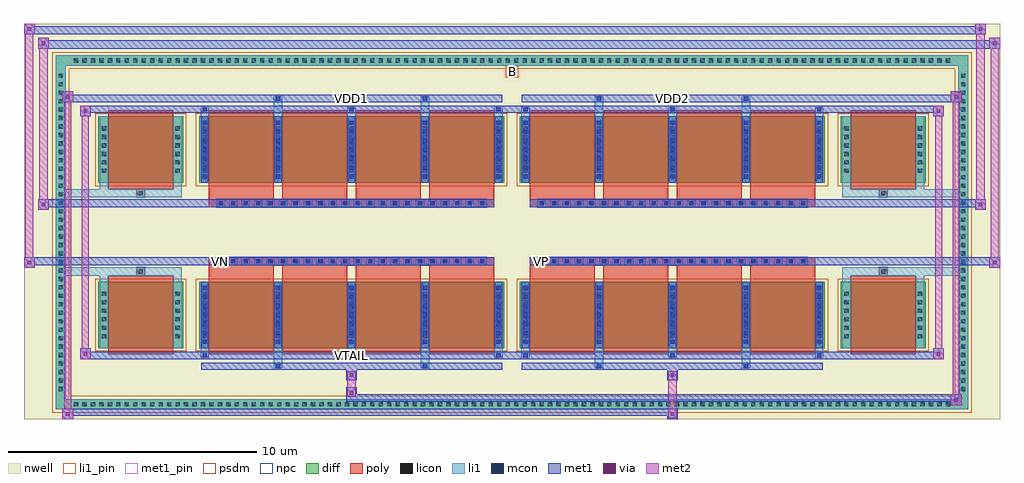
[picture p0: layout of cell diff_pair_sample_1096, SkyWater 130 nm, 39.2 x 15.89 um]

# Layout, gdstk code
import gdstk
lib = gdstk.Library(unit=1e-6, precision=5e-09)
def R(c, l, rs):  # rectangles x0, y0, x1, y1
    for r in rs: c.add(gdstk.rectangle(r[:2], r[2:], *l))
def A(c, l, x, y, w, h, nx, ny, dx, dy):  # array of equal rectangles
    R(c, l, [(x+i*dx, y+j*dy, x+i*dx+w, y+j*dy+h) for i in range(nx) for j in range(ny)])
def P(c, l, *ps):  # polygons
    for p in ps: c.add(gdstk.Polygon(p, *l))
nwell = (64, 20)
diff = (65, 20)
poly = (66, 20)
licon = (66, 44)
li1_pin = (67, 16)
li1 = (67, 20)
mcon = (67, 44)
met1_pin = (68, 16)
met1 = (68, 20)
via = (68, 44)
met2 = (69, 20)
psdm = (94, 20)
npc = (95, 20)

diff_pair_sample_1096 = lib.new_cell('diff_pair_sample_1096')
R(diff_pair_sample_1096, nwell, [(-19.6,-7.51,19.6,8.38), (-16.92,-5.7,-0.01,-0.8), (0.01,-5.7,16.92,-0.8), (-16.92,0.8,-0.01,5.7), (0.01,0.8,16.92,5.7)])
A(diff_pair_sample_1096, diff, -17.715, -7.11, 0.41, 0.41, 104, 2, 0.34, 13.81)
A(diff_pair_sample_1096, diff, -18.33, -6.495, 0.41, 0.41, 1, 38, 0, 0.34)
A(diff_pair_sample_1096, diff, 17.92, -6.495, 0.41, 0.41, 1, 38, 0, 0.34)
R(diff_pair_sample_1096, diff, [(-17.715,-7.11,17.715,-6.7), (-18.33,-6.495,-17.92,6.495), (17.92,-6.495,18.33,6.495), (-16.61,-4.655,-13.21,-1.985), (-12.57,-4.655,-0.32,-1.985), (0.32,-4.655,12.57,-1.985), (13.21,-4.655,16.61,-1.985), (-16.61,1.985,-13.21,4.655), (-12.57,1.985,-0.32,4.655), (0.32,1.985,12.57,4.655), (13.21,1.985,16.61,4.655), (-17.715,6.7,17.715,7.11)])
P(diff_pair_sample_1096, diff, [(18.33,7.11),(-18.33,7.11),(-18.33,-6.7),(-17.92,-6.7),(-17.92,6.7),(17.92,6.7),(17.92,-6.7),(-17.92,-6.7),(-18.33,-6.7),(-18.33,-7.11),(18.33,-7.11)])
A(diff_pair_sample_1096, poly, -12.18, -4.905, 2.62, 3.17, 4, 2, 2.95, 6.64)
A(diff_pair_sample_1096, poly, 0.71, -4.905, 2.62, 3.17, 4, 2, 2.95, 6.64)
A(diff_pair_sample_1096, poly, -12.18, -1.735, 2.62, 0.405, 4, 2, 2.95, 3.065)
A(diff_pair_sample_1096, poly, 0.71, -1.735, 2.62, 0.405, 4, 2, 2.95, 3.065)
A(diff_pair_sample_1096, poly, -11.86, -1.33, 0.33, 0.33, 22, 2, 0.5, 2.33)
A(diff_pair_sample_1096, poly, 1.03, -1.33, 0.33, 0.33, 22, 2, 0.5, 2.33)
R(diff_pair_sample_1096, poly, [(-16.22,-4.905,-13.6,-1.735), (13.6,-4.905,16.22,-1.735), (-15.075,-1.735,-14.745,-1.405), (-15.075,-1.735,-14.745,-1.405), (14.745,-1.735,15.075,-1.405), (14.745,-1.735,15.075,-1.405), (-12.18,-1.33,-0.71,-1), (0.71,-1.33,12.18,-1), (-12.18,1,-0.71,1.33), (0.71,1,12.18,1.33), (-15.075,1.405,-14.745,1.735), (-15.075,1.405,-14.745,1.735), (14.745,1.405,15.075,1.735), (14.745,1.405,15.075,1.735), (-16.22,1.735,-13.6,4.905), (13.6,1.735,16.22,4.905)])
A(diff_pair_sample_1096, licon, -17.595, -6.99, 0.17, 0.17, 104, 2, 0.34, 13.81)
A(diff_pair_sample_1096, licon, -18.21, -6.375, 0.17, 0.17, 1, 38, 0, 0.34)
A(diff_pair_sample_1096, licon, 18.04, -6.375, 0.17, 0.17, 1, 38, 0, 0.34)
A(diff_pair_sample_1096, licon, -16.47, -4.255, 0.17, 0.17, 1, 6, 0, 0.34)
A(diff_pair_sample_1096, licon, -13.52, -4.255, 0.17, 0.17, 1, 6, 0, 0.34)
A(diff_pair_sample_1096, licon, -12.43, -4.255, 0.17, 0.17, 5, 6, 2.95, 0.34)
A(diff_pair_sample_1096, licon, 0.46, -4.255, 0.17, 0.17, 5, 6, 2.95, 0.34)
A(diff_pair_sample_1096, licon, 13.35, -4.255, 0.17, 0.17, 1, 6, 0, 0.34)
A(diff_pair_sample_1096, licon, 16.3, -4.255, 0.17, 0.17, 1, 6, 0, 0.34)
A(diff_pair_sample_1096, licon, -11.78, -1.25, 0.17, 0.17, 22, 2, 0.5, 2.33)
A(diff_pair_sample_1096, licon, 1.11, -1.25, 0.17, 0.17, 22, 2, 0.5, 2.33)
A(diff_pair_sample_1096, licon, -16.47, 2.385, 0.17, 0.17, 1, 6, 0, 0.34)
A(diff_pair_sample_1096, licon, -13.52, 2.385, 0.17, 0.17, 1, 6, 0, 0.34)
A(diff_pair_sample_1096, licon, -12.43, 2.385, 0.17, 0.17, 5, 6, 2.95, 0.34)
A(diff_pair_sample_1096, licon, 0.46, 2.385, 0.17, 0.17, 5, 6, 2.95, 0.34)
A(diff_pair_sample_1096, licon, 13.35, 2.385, 0.17, 0.17, 1, 6, 0, 0.34)
A(diff_pair_sample_1096, licon, 16.3, 2.385, 0.17, 0.17, 1, 6, 0, 0.34)
R(diff_pair_sample_1096, licon, [(-14.995,-1.655,-14.825,-1.485), (14.825,-1.655,14.995,-1.485), (-14.995,1.485,-14.825,1.655), (14.825,1.485,14.995,1.655)])
R(diff_pair_sample_1096, li1_pin, [(-0.25,6.2,0.25,6.7)])
A(diff_pair_sample_1096, li1, -17.675, -7.07, 0.33, 0.33, 104, 2, 0.34, 13.81)
A(diff_pair_sample_1096, li1, -18.29, -6.455, 0.33, 0.33, 1, 38, 0, 0.34)
A(diff_pair_sample_1096, li1, 17.96, -6.455, 0.33, 0.33, 1, 38, 0, 0.34)
A(diff_pair_sample_1096, li1, -12.51, -5.03, 0.33, 0.375, 3, 2, 5.9, 9.685)
A(diff_pair_sample_1096, li1, -12.43, -5.03, 0.17, 0.17, 3, 2, 5.9, 9.89)
A(diff_pair_sample_1096, li1, 0.38, -5.03, 0.33, 0.375, 3, 2, 5.9, 9.685)
A(diff_pair_sample_1096, li1, 0.46, -5.03, 0.17, 0.17, 3, 2, 5.9, 9.89)
A(diff_pair_sample_1096, li1, -12.51, -4.655, 0.33, 2.67, 5, 2, 2.95, 6.64)
A(diff_pair_sample_1096, li1, 0.38, -4.655, 0.33, 2.67, 5, 2, 2.95, 6.64)
A(diff_pair_sample_1096, li1, -12.43, -4.485, 0.17, 0.17, 5, 7, 2.95, 0.36)
A(diff_pair_sample_1096, li1, -12.43, -4.485, 0.17, 2.33, 5, 2, 2.95, 6.64)
A(diff_pair_sample_1096, li1, 0.46, -4.485, 0.17, 0.17, 5, 7, 2.95, 0.36)
A(diff_pair_sample_1096, li1, 0.46, -4.485, 0.17, 2.33, 5, 2, 2.95, 6.64)
A(diff_pair_sample_1096, li1, -16.55, -4.335, 0.33, 0.33, 1, 6, 0, 0.34)
A(diff_pair_sample_1096, li1, -13.6, -4.335, 0.33, 0.33, 1, 6, 0, 0.34)
A(diff_pair_sample_1096, li1, -12.51, -4.335, 0.33, 0.33, 5, 6, 2.95, 0.34)
A(diff_pair_sample_1096, li1, 0.38, -4.335, 0.33, 0.33, 5, 6, 2.95, 0.34)
A(diff_pair_sample_1096, li1, 13.27, -4.335, 0.33, 0.33, 1, 6, 0, 0.34)
A(diff_pair_sample_1096, li1, 16.22, -4.335, 0.33, 0.33, 1, 6, 0, 0.34)
A(diff_pair_sample_1096, li1, -11.86, -1.33, 0.33, 0.33, 22, 2, 0.5, 2.33)
A(diff_pair_sample_1096, li1, 1.03, -1.33, 0.33, 0.33, 22, 2, 0.5, 2.33)
A(diff_pair_sample_1096, li1, -12.43, 2.155, 0.17, 0.17, 5, 7, 2.95, 0.36)
A(diff_pair_sample_1096, li1, 0.46, 2.155, 0.17, 0.17, 5, 7, 2.95, 0.36)
A(diff_pair_sample_1096, li1, -16.55, 2.305, 0.33, 0.33, 1, 6, 0, 0.34)
A(diff_pair_sample_1096, li1, -13.6, 2.305, 0.33, 0.33, 1, 6, 0, 0.34)
A(diff_pair_sample_1096, li1, -12.51, 2.305, 0.33, 0.33, 5, 6, 2.95, 0.34)
A(diff_pair_sample_1096, li1, 0.38, 2.305, 0.33, 0.33, 5, 6, 2.95, 0.34)
A(diff_pair_sample_1096, li1, 13.27, 2.305, 0.33, 0.33, 1, 6, 0, 0.34)
A(diff_pair_sample_1096, li1, 16.22, 2.305, 0.33, 0.33, 1, 6, 0, 0.34)
R(diff_pair_sample_1096, li1, [(-18.33,-7.11,-17.92,-6.7), (-18.33,-7.11,-17.92,-6.7), (-17.92,-7.11,17.92,-6.7), (17.92,-7.11,18.33,-6.7), (17.92,-7.11,18.33,-6.7), (-18.33,-6.7,-17.92,6.7), (17.92,-6.7,18.33,6.7), (-9.56,-5.46,-9.23,-4.655), (-9.48,-5.46,-9.31,-5.29), (-3.66,-5.46,-3.33,-4.655), (-3.58,-5.46,-3.41,-5.29), (3.33,-5.46,3.66,-4.655), (3.41,-5.46,3.58,-5.29), (9.23,-5.46,9.56,-4.655), (9.31,-5.46,9.48,-5.29), (-16.55,-4.655,-16.22,-1.985), (-13.6,-4.655,-13.27,-1.985), (13.27,-4.655,13.6,-1.985), (16.22,-4.655,16.55,-1.985), (-16.55,-1.985,-16.22,-1.405), (-13.6,-1.985,-13.27,-1.405), (13.27,-1.985,13.6,-1.405), (16.22,-1.985,16.55,-1.405), (-18.33,-1.735,-15.075,-1.405), (-16.55,-1.735,-15.075,-1.405), (-15.075,-1.735,-14.745,-1.405), (-14.745,-1.735,-13.27,-1.405), (13.27,-1.735,14.745,-1.405), (14.745,-1.735,15.075,-1.405), (14.745,-1.735,18.33,-1.405), (15.075,-1.735,16.55,-1.405), (-18.33,1.405,-15.075,1.735), (-16.55,1.405,-15.075,1.735), (-16.55,1.405,-16.22,1.985), (-15.075,1.405,-14.745,1.735), (-14.745,1.405,-13.27,1.735), (-13.6,1.405,-13.27,1.985), (13.27,1.405,14.745,1.735), (13.27,1.405,13.6,1.985), (14.745,1.405,15.075,1.735), (14.745,1.405,18.33,1.735), (15.075,1.405,16.55,1.735), (16.22,1.405,16.55,1.985), (-16.55,1.985,-16.22,4.655), (-13.6,1.985,-13.27,4.655), (13.27,1.985,13.6,4.655), (16.22,1.985,16.55,4.655), (-9.56,4.655,-9.23,5.46), (-3.66,4.655,-3.33,5.46), (3.33,4.655,3.66,5.46), (9.23,4.655,9.56,5.46), (-9.48,5.29,-9.31,5.46), (-3.58,5.29,-3.41,5.46), (3.41,5.29,3.58,5.46), (9.31,5.29,9.48,5.46), (-18.33,6.7,-17.92,7.11), (-18.33,6.7,-17.92,7.11), (-17.92,6.7,17.92,7.11), (17.92,6.7,18.33,7.11), (17.92,6.7,18.33,7.11)])
A(diff_pair_sample_1096, mcon, -12.43, -5.03, 0.17, 0.17, 3, 2, 5.9, 9.89)
A(diff_pair_sample_1096, mcon, 0.46, -5.03, 0.17, 0.17, 3, 2, 5.9, 9.89)
A(diff_pair_sample_1096, mcon, -12.43, -4.485, 0.17, 0.17, 5, 7, 2.95, 0.36)
A(diff_pair_sample_1096, mcon, 0.46, -4.485, 0.17, 0.17, 5, 7, 2.95, 0.36)
A(diff_pair_sample_1096, mcon, -11.78, -1.25, 0.17, 0.17, 22, 2, 0.5, 2.33)
A(diff_pair_sample_1096, mcon, 1.11, -1.25, 0.17, 0.17, 22, 2, 0.5, 2.33)
A(diff_pair_sample_1096, mcon, -12.43, 2.155, 0.17, 0.17, 5, 7, 2.95, 0.36)
A(diff_pair_sample_1096, mcon, 0.46, 2.155, 0.17, 0.17, 5, 7, 2.95, 0.36)
R(diff_pair_sample_1096, mcon, [(-9.48,-5.46,-9.31,-5.29), (-3.58,-5.46,-3.41,-5.29), (3.41,-5.46,3.58,-5.29), (9.31,-5.46,9.48,-5.29), (-9.48,5.29,-9.31,5.46), (-3.58,5.29,-3.41,5.46), (3.41,5.29,3.58,5.46), (9.31,5.29,9.48,5.46)])
R(diff_pair_sample_1096, met1_pin, [(-6.58,-5.07,-6.31,-4.8), (-11.83,-1.29,-11.56,-1.02), (1.06,-1.29,1.33,-1.02), (-6.58,5.25,-6.31,5.52), (6.31,5.25,6.58,5.52)])
A(diff_pair_sample_1096, met1, -12.49, -5.09, 0.29, 0.29, 3, 2, 5.9, 9.89)
A(diff_pair_sample_1096, met1, 0.4, -5.09, 0.29, 0.29, 3, 2, 5.9, 9.89)
A(diff_pair_sample_1096, met1, -12.49, -4.655, 0.29, 2.67, 5, 2, 2.95, 6.64)
A(diff_pair_sample_1096, met1, 0.4, -4.655, 0.29, 2.67, 5, 2, 2.95, 6.64)
A(diff_pair_sample_1096, met1, -12.49, -4.545, 0.29, 0.29, 5, 7, 2.95, 0.36)
A(diff_pair_sample_1096, met1, 0.4, -4.545, 0.29, 0.29, 5, 7, 2.95, 0.36)
A(diff_pair_sample_1096, met1, -11.84, -1.31, 0.29, 0.29, 22, 2, 0.5, 2.33)
A(diff_pair_sample_1096, met1, 1.05, -1.31, 0.29, 0.29, 22, 2, 0.5, 2.33)
A(diff_pair_sample_1096, met1, -12.49, 2.095, 0.29, 0.29, 5, 7, 2.95, 0.36)
A(diff_pair_sample_1096, met1, 0.4, 2.095, 0.29, 0.29, 5, 7, 2.95, 0.36)
R(diff_pair_sample_1096, met1, [(-18.06,-7.51,-17.63,-7.08), (6.23,-7.51,6.66,-7.08), (-18.06,-7.37,6.66,-7.08), (17.63,-6.94,18.06,-6.51), (-6.66,-6.8,18.06,-6.51), (-6.66,-6.66,-6.23,-6.23), (-6.66,-5.95,-6.23,-5.52), (6.23,-5.95,6.66,-5.52), (-12.49,-5.52,-0.4,-5.23), (-9.54,-5.52,-9.25,-5.23), (-3.64,-5.52,-3.35,-5.23), (0.4,-5.52,12.49,-5.23), (3.35,-5.52,3.64,-5.23), (9.25,-5.52,9.54,-5.23), (-17.35,-5.09,-16.92,-4.66), (-17.35,-5.09,-12.49,-4.8), (-12.49,-5.09,-0.4,-4.8), (-0.4,-5.09,0.4,-4.8), (0.4,-5.09,12.49,-4.8), (12.49,-5.09,17.35,-4.8), (16.92,-5.09,17.35,-4.66), (-19.6,-1.43,-19.17,-1), (19.17,-1.43,19.6,-1), (-19.6,-1.33,-0.71,-1), (-12.18,-1.33,-0.71,-1), (0.71,-1.33,12.18,-1), (0.71,-1.33,19.6,-1), (-19.03,0.9,-18.6,1.33), (18.6,0.9,19.03,1.33), (-19.03,1,-12.18,1.33), (-12.18,1,-0.71,1.33), (0.71,1,12.18,1.33), (12.18,1,19.03,1.33), (-17.35,4.66,-16.92,5.09), (16.92,4.66,17.35,5.09), (-17.35,4.8,-12.49,5.09), (-12.49,4.8,-0.4,5.09), (-0.4,4.8,0.4,5.09), (0.4,4.8,12.49,5.09), (12.49,4.8,17.35,5.09), (-18.06,5.23,-17.63,5.66), (-18.06,5.23,-12.49,5.52), (-12.49,5.23,-0.4,5.52), (-9.54,5.23,-9.25,5.52), (-3.64,5.23,-3.35,5.52), (0.4,5.23,12.49,5.52), (3.35,5.23,3.64,5.52), (9.25,5.23,9.54,5.52), (12.49,5.23,18.06,5.52), (17.63,5.23,18.06,5.66), (-19.03,7.38,-18.6,7.81), (-19.03,7.38,-16.92,7.71), (-16.92,7.38,16.92,7.71), (16.92,7.38,19.6,7.71), (19.17,7.38,19.6,7.81), (-19.6,7.95,-19.17,8.38), (-19.6,7.95,-16.92,8.28), (-16.92,7.95,16.92,8.28), (16.92,7.95,19.03,8.28), (18.6,7.95,19.03,8.38)])
R(diff_pair_sample_1096, via, [(-17.92,-7.37,-17.77,-7.22), (6.37,-7.37,6.52,-7.22), (17.77,-6.8,17.92,-6.65), (-6.52,-6.52,-6.37,-6.37), (-6.52,-5.81,-6.37,-5.66), (6.37,-5.81,6.52,-5.66), (-17.21,-4.95,-17.06,-4.8), (17.06,-4.95,17.21,-4.8), (-19.46,-1.29,-19.31,-1.14), (19.31,-1.29,19.46,-1.14), (-18.89,1.04,-18.74,1.19), (18.74,1.04,18.89,1.19), (-17.21,4.8,-17.06,4.95), (17.06,4.8,17.21,4.95), (-17.92,5.37,-17.77,5.52), (17.77,5.37,17.92,5.52), (-18.89,7.52,-18.74,7.67), (19.31,7.52,19.46,7.67), (-19.46,8.09,-19.31,8.24), (18.74,8.09,18.89,8.24)])
R(diff_pair_sample_1096, met2, [(-18.06,-7.51,-17.63,-7.08), (-17.99,-7.51,-17.7,5.66), (-17.7,-7.51,-17.63,-7.08), (-18.01,-7.46,-17.68,-7.13), (6.28,-7.46,6.61,-7.13), (6.28,-7.13,6.61,-5.9), (17.63,-6.94,18.06,-6.51), (17.7,-6.94,17.99,5.66), (17.99,-6.94,18.06,-6.51), (17.68,-6.89,18.01,-6.56), (-6.61,-6.61,-6.28,-6.28), (-6.61,-6.28,-6.28,-5.9), (-6.61,-5.9,-6.28,-5.57), (6.28,-5.9,6.61,-5.57), (-17.35,-5.09,-16.92,-4.66), (-17.28,-5.09,-16.99,5.09), (-16.99,-5.09,-16.92,-4.66), (16.92,-5.09,17.35,-4.66), (16.99,-5.09,17.28,5.09), (17.28,-5.09,17.35,-4.66), (-17.3,-5.04,-16.97,-4.71), (16.97,-5.04,17.3,-4.71), (-19.6,-1.43,-19.17,-1), (-19.55,-1.43,-19.22,8.38), (-19.22,-1.43,-19.17,-1), (19.17,-1.43,19.6,-1), (19.22,-1.43,19.55,7.81), (19.55,-1.43,19.6,-1), (-19.55,-1.38,-19.22,-1.05), (19.22,-1.38,19.55,-1.05), (-19.03,0.9,-18.6,1.33), (-18.98,0.9,-18.65,7.81), (-18.65,0.9,-18.6,1.33), (18.6,0.9,19.03,1.33), (18.65,0.9,18.98,8.38), (18.98,0.9,19.03,1.33), (-18.98,0.95,-18.65,1.28), (18.65,0.95,18.98,1.28), (-17.35,4.66,-16.92,5.09), (-16.99,4.66,-16.92,5.09), (16.92,4.66,17.35,5.09), (17.28,4.66,17.35,5.09), (-17.3,4.71,-16.97,5.04), (16.97,4.71,17.3,5.04), (-18.06,5.23,-17.63,5.66), (-17.7,5.23,-17.63,5.66), (17.63,5.23,18.06,5.66), (17.99,5.23,18.06,5.66), (-18.01,5.28,-17.68,5.61), (17.68,5.28,18.01,5.61), (-19.03,7.38,-18.6,7.81), (-18.65,7.38,-18.6,7.81), (19.17,7.38,19.6,7.81), (19.55,7.38,19.6,7.81), (-18.98,7.43,-18.65,7.76), (19.22,7.43,19.55,7.76), (-19.6,7.95,-19.17,8.38), (-19.22,7.95,-19.17,8.38), (18.6,7.95,19.03,8.38), (18.98,7.95,19.03,8.38), (-19.55,8,-19.22,8.33), (18.65,8,18.98,8.33)])
R(diff_pair_sample_1096, psdm, [(-16.74,-4.785,-13.08,-1.855), (-12.7,-4.785,-0.19,-1.855), (0.19,-4.785,12.7,-1.855), (13.08,-4.785,16.74,-1.855), (-16.74,1.855,-13.08,4.785), (-12.7,1.855,-0.19,4.785), (0.19,1.855,12.7,4.785), (13.08,1.855,16.74,4.785)])
P(diff_pair_sample_1096, psdm, [(18.46,7.24),(-18.46,7.24),(-18.46,-6.57),(-17.79,-6.57),(-17.79,6.57),(17.79,6.57),(17.79,-6.57),(-17.79,-6.57),(-18.46,-6.57),(-18.46,-7.24),(18.46,-7.24)])
A(diff_pair_sample_1096, npc, -11.88, -1.35, 0.37, 0.37, 22, 2, 0.5, 2.33)
A(diff_pair_sample_1096, npc, 1.01, -1.35, 0.37, 0.37, 22, 2, 0.5, 2.33)
R(diff_pair_sample_1096, npc, [(-15.095,-1.755,-14.725,-1.385), (14.725,-1.755,15.095,-1.385), (-11.88,-1.35,-11.01,-0.98), (-11.88,-1.35,-11.01,-0.98), (-11.38,-1.35,-10.51,-0.98), (-11.38,-1.35,-10.51,-0.98), (-10.88,-1.35,-10.01,-0.98), (-10.88,-1.35,-10.01,-0.98), (-10.38,-1.35,-9.51,-0.98), (-10.38,-1.35,-9.51,-0.98), (-9.88,-1.35,-9.01,-0.98), (-9.88,-1.35,-9.01,-0.98), (-9.38,-1.35,-8.51,-0.98), (-9.38,-1.35,-8.51,-0.98), (-8.88,-1.35,-8.01,-0.98), (-8.88,-1.35,-8.01,-0.98), (-8.38,-1.35,-7.51,-0.98), (-8.38,-1.35,-7.51,-0.98), (-7.88,-1.35,-7.01,-0.98), (-7.88,-1.35,-7.01,-0.98), (-7.38,-1.35,-6.51,-0.98), (-7.38,-1.35,-6.51,-0.98), (-6.88,-1.35,-6.01,-0.98), (-6.88,-1.35,-6.01,-0.98), (-6.38,-1.35,-5.51,-0.98), (-6.38,-1.35,-5.51,-0.98), (-5.88,-1.35,-5.01,-0.98), (-5.88,-1.35,-5.01,-0.98), (-5.38,-1.35,-4.51,-0.98), (-5.38,-1.35,-4.51,-0.98), (-4.88,-1.35,-4.01,-0.98), (-4.88,-1.35,-4.01,-0.98), (-4.38,-1.35,-3.51,-0.98), (-4.38,-1.35,-3.51,-0.98), (-3.88,-1.35,-3.01,-0.98), (-3.88,-1.35,-3.01,-0.98), (-3.38,-1.35,-2.51,-0.98), (-3.38,-1.35,-2.51,-0.98), (-2.88,-1.35,-2.01,-0.98), (-2.88,-1.35,-2.01,-0.98), (-2.38,-1.35,-1.51,-0.98), (-2.38,-1.35,-1.51,-0.98), (-1.88,-1.35,-1.01,-0.98), (-1.88,-1.35,-1.01,-0.98), (1.01,-1.35,1.88,-0.98), (1.01,-1.35,1.88,-0.98), (1.51,-1.35,2.38,-0.98), (1.51,-1.35,2.38,-0.98), (2.01,-1.35,2.88,-0.98), (2.01,-1.35,2.88,-0.98), (2.51,-1.35,3.38,-0.98), (2.51,-1.35,3.38,-0.98), (3.01,-1.35,3.88,-0.98), (3.01,-1.35,3.88,-0.98), (3.51,-1.35,4.38,-0.98), (3.51,-1.35,4.38,-0.98), (4.01,-1.35,4.88,-0.98), (4.01,-1.35,4.88,-0.98), (4.51,-1.35,5.38,-0.98), (4.51,-1.35,5.38,-0.98), (5.01,-1.35,5.88,-0.98), (5.01,-1.35,5.88,-0.98), (5.51,-1.35,6.38,-0.98), (5.51,-1.35,6.38,-0.98), (6.01,-1.35,6.88,-0.98), (6.01,-1.35,6.88,-0.98), (6.51,-1.35,7.38,-0.98), (6.51,-1.35,7.38,-0.98), (7.01,-1.35,7.88,-0.98), (7.01,-1.35,7.88,-0.98), (7.51,-1.35,8.38,-0.98), (7.51,-1.35,8.38,-0.98), (8.01,-1.35,8.88,-0.98), (8.01,-1.35,8.88,-0.98), (8.51,-1.35,9.38,-0.98), (8.51,-1.35,9.38,-0.98), (9.01,-1.35,9.88,-0.98), (9.01,-1.35,9.88,-0.98), (9.51,-1.35,10.38,-0.98), (9.51,-1.35,10.38,-0.98), (10.01,-1.35,10.88,-0.98), (10.01,-1.35,10.88,-0.98), (10.51,-1.35,11.38,-0.98), (10.51,-1.35,11.38,-0.98), (11.01,-1.35,11.88,-0.98), (11.01,-1.35,11.88,-0.98), (-11.88,0.98,-11.01,1.35), (-11.88,0.98,-11.01,1.35), (-11.38,0.98,-10.51,1.35), (-11.38,0.98,-10.51,1.35), (-10.88,0.98,-10.01,1.35), (-10.88,0.98,-10.01,1.35), (-10.38,0.98,-9.51,1.35), (-10.38,0.98,-9.51,1.35), (-9.88,0.98,-9.01,1.35), (-9.88,0.98,-9.01,1.35), (-9.38,0.98,-8.51,1.35), (-9.38,0.98,-8.51,1.35), (-8.88,0.98,-8.01,1.35), (-8.88,0.98,-8.01,1.35), (-8.38,0.98,-7.51,1.35), (-8.38,0.98,-7.51,1.35), (-7.88,0.98,-7.01,1.35), (-7.88,0.98,-7.01,1.35), (-7.38,0.98,-6.51,1.35), (-7.38,0.98,-6.51,1.35), (-6.88,0.98,-6.01,1.35), (-6.88,0.98,-6.01,1.35), (-6.38,0.98,-5.51,1.35), (-6.38,0.98,-5.51,1.35), (-5.88,0.98,-5.01,1.35), (-5.88,0.98,-5.01,1.35), (-5.38,0.98,-4.51,1.35), (-5.38,0.98,-4.51,1.35), (-4.88,0.98,-4.01,1.35), (-4.88,0.98,-4.01,1.35), (-4.38,0.98,-3.51,1.35), (-4.38,0.98,-3.51,1.35), (-3.88,0.98,-3.01,1.35), (-3.88,0.98,-3.01,1.35), (-3.38,0.98,-2.51,1.35), (-3.38,0.98,-2.51,1.35), (-2.88,0.98,-2.01,1.35), (-2.88,0.98,-2.01,1.35), (-2.38,0.98,-1.51,1.35), (-2.38,0.98,-1.51,1.35), (-1.88,0.98,-1.01,1.35), (-1.88,0.98,-1.01,1.35), (1.01,0.98,1.88,1.35), (1.01,0.98,1.88,1.35), (1.51,0.98,2.38,1.35), (1.51,0.98,2.38,1.35), (2.01,0.98,2.88,1.35), (2.01,0.98,2.88,1.35), (2.51,0.98,3.38,1.35), (2.51,0.98,3.38,1.35), (3.01,0.98,3.88,1.35), (3.01,0.98,3.88,1.35), (3.51,0.98,4.38,1.35), (3.51,0.98,4.38,1.35), (4.01,0.98,4.88,1.35), (4.01,0.98,4.88,1.35), (4.51,0.98,5.38,1.35), (4.51,0.98,5.38,1.35), (5.01,0.98,5.88,1.35), (5.01,0.98,5.88,1.35), (5.51,0.98,6.38,1.35), (5.51,0.98,6.38,1.35), (6.01,0.98,6.88,1.35), (6.01,0.98,6.88,1.35), (6.51,0.98,7.38,1.35), (6.51,0.98,7.38,1.35), (7.01,0.98,7.88,1.35), (7.01,0.98,7.88,1.35), (7.51,0.98,8.38,1.35), (7.51,0.98,8.38,1.35), (8.01,0.98,8.88,1.35), (8.01,0.98,8.88,1.35), (8.51,0.98,9.38,1.35), (8.51,0.98,9.38,1.35), (9.01,0.98,9.88,1.35), (9.01,0.98,9.88,1.35), (9.51,0.98,10.38,1.35), (9.51,0.98,10.38,1.35), (10.01,0.98,10.88,1.35), (10.01,0.98,10.88,1.35), (10.51,0.98,11.38,1.35), (10.51,0.98,11.38,1.35), (11.01,0.98,11.88,1.35), (11.01,0.98,11.88,1.35), (-15.095,1.385,-14.725,1.755), (14.725,1.385,15.095,1.755)])
diff_pair_sample_1096.add(gdstk.Label('VTAIL', (-6.445,-4.935), layer=68, texttype=5))
diff_pair_sample_1096.add(gdstk.Label('VN', (-11.695,-1.155), layer=68, texttype=5))
diff_pair_sample_1096.add(gdstk.Label('VP', (1.195,-1.155), layer=68, texttype=5))
diff_pair_sample_1096.add(gdstk.Label('B', (0,6.45), layer=67, texttype=5))
diff_pair_sample_1096.add(gdstk.Label('VDD2', (6.445,5.385), layer=68, texttype=5))
diff_pair_sample_1096.add(gdstk.Label('VDD1', (-6.445,5.385), layer=68, texttype=5))

lib.write_gds('diff_pair_sample_1096.gds')
